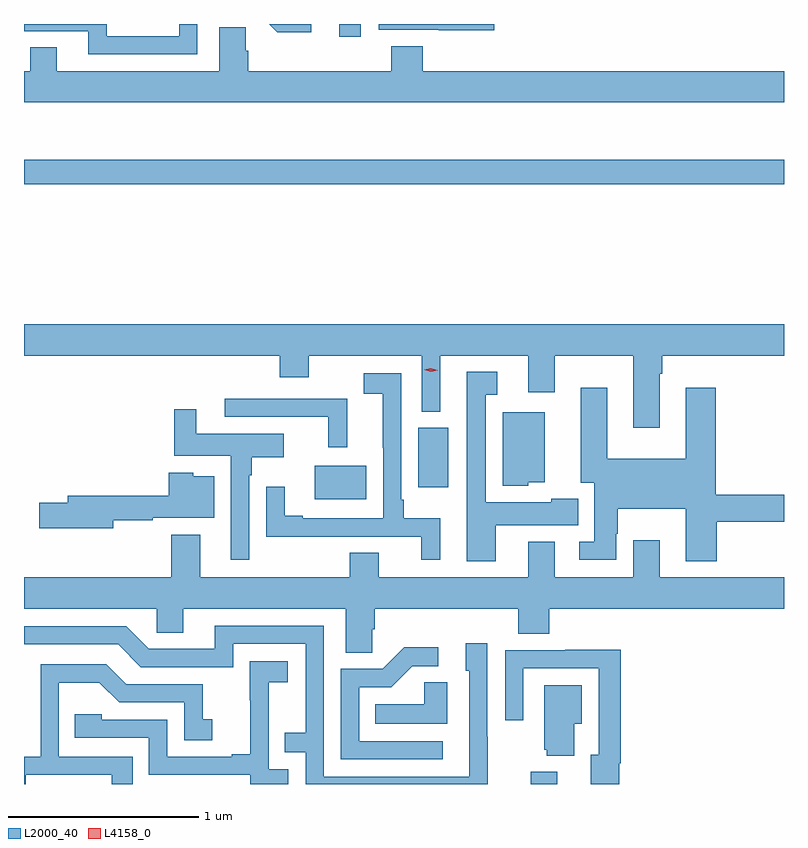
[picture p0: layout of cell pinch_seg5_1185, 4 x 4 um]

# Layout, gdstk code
import gdstk
lib = gdstk.Library(unit=1e-6, precision=1e-09)
def R(c, l, rs):  # rectangles x0, y0, x1, y1
    for r in rs: c.add(gdstk.rectangle(r[:2], r[2:], *l))
def P(c, l, *ps):  # polygons
    for p in ps: c.add(gdstk.Polygon(p, *l))
L2000_40 = (2000, 40)
L4158_0 = (4158, 0)

pinch_seg5_1185 = lib.new_cell('pinch_seg5_1185')
R(pinch_seg5_1185, L2000_40, [(570.629,879.813,570.769,879.877), (569.492,881.312,569.764,881.488), (570.038,881.376,570.196,881.688), (567.963,882.97,571.963,883.099), (569.621,883.746,569.736,883.813)])
P(pinch_seg5_1185, L2000_40, [(569.476,883.813),(569.253,883.813),(569.297,883.769),(569.476,883.769)],
  [(570.437,883.813),(569.829,883.813),(569.829,883.782),(570.145,883.782),(570.145,883.781),(570.437,883.781)],
  [(568.875,883.813),(568.779,883.813),(568.779,883.749),(568.398,883.749),(568.398,883.813),(567.963,883.813),(567.963,883.776),(568.301,883.776),(568.301,883.653),(568.875,883.653)],
  [(571.963,883.564),(570.062,883.564),(570.062,883.697),(569.897,883.697),(569.897,883.564),(569.144,883.564),(569.144,883.673),(569.13,883.673),(569.13,883.796),(568.991,883.796),(568.991,883.564),(568.135,883.564),(568.135,883.691),(567.996,883.691),(567.996,883.564),(567.963,883.564),(567.963,883.4),(571.963,883.4)],
  [(571.309,881.972),(571.322,881.972),(571.322,882.068),(571.963,882.068),(571.963,882.232),(567.963,882.232),(567.963,882.068),(569.309,882.068),(569.309,881.954),(569.461,881.954),(569.461,882.068),(570.057,882.068),(570.057,881.773),(570.154,881.773),(570.154,882.068),(570.617,882.068),(570.617,881.874),(570.757,881.874),(570.757,882.068),(571.169,882.068),(571.169,881.688),(571.309,881.688)],
  [(570.445,881.174),(570.88,881.174),(570.88,881.314),(570.738,881.314),(570.738,881.296),(570.394,881.296),(570.394,881.863),(570.454,881.863),(570.454,881.983),(570.293,881.983),(570.293,880.986),(570.445,880.986)],
  [(570.154,881.212),(569.962,881.212),(569.962,881.308),(569.949,881.308),(569.949,881.976),(569.751,881.976),(569.751,881.868),(569.852,881.868),(569.852,881.584),(569.853,881.584),(569.853,881.211),(569.431,881.211),(569.431,881.224),(569.335,881.224),(569.335,881.377),(569.238,881.377),(569.238,881.114),(569.594,881.114),(569.594,881.115),(569.856,881.115),(569.856,881.114),(570.055,881.114),(570.055,880.992),(570.154,880.992)],
  [(571.61,881.194),(571.963,881.194),(571.963,881.336),(571.605,881.336),(571.605,881.899),(571.445,881.899),(571.445,881.524),(571.033,881.524),(571.033,881.899),(570.893,881.899),(570.893,881.399),(570.965,881.399),(570.965,881.088),(570.885,881.088),(570.885,880.992),(571.081,880.992),(571.081,881.13),(571.089,881.13),(571.089,881.261),(571.445,881.261),(571.445,880.986),(571.61,880.986)],
  [(569.663,881.841),(569.019,881.841),(569.019,881.745),(569.563,881.745),(569.563,881.586),(569.663,881.586)],
  [(569.148,881.438),(569.161,881.438),(569.161,881.534),(569.329,881.534),(569.329,881.656),(568.87,881.656),(568.87,881.785),(568.753,881.785),(568.753,881.54),(569.052,881.54),(569.052,880.992),(569.148,880.992)],
  [(570.618,881.402),(570.703,881.402),(570.703,881.77),(570.482,881.77),(570.482,881.384),(570.618,881.384)],
  [(568.432,881.202),(568.64,881.202),(568.64,881.214),(568.963,881.214),(568.963,881.434),(568.854,881.434),(568.854,881.452),(568.724,881.452),(568.724,881.33),(568.193,881.33),(568.193,881.294),(568.044,881.294),(568.044,881.159),(568.432,881.159)],
  [(569.796,880.627),(569.81,880.627),(569.81,880.736),(570.563,880.736),(570.563,880.603),(570.728,880.603),(570.728,880.736),(571.963,880.736),(571.963,880.9),(571.309,880.9),(571.309,881.095),(571.169,881.095),(571.169,880.9),(570.757,880.9),(570.757,881.089),(570.617,881.089),(570.617,880.9),(569.83,880.9),(569.83,881.03),(569.678,881.03),(569.678,880.9),(568.891,880.9),(568.891,881.125),(568.739,881.125),(568.739,880.9),(567.963,880.9),(567.963,880.736),(568.662,880.736),(568.662,880.609),(568.801,880.609),(568.801,880.736),(569.657,880.736),(569.657,880.504),(569.796,880.504)],
  [(570.405,880.061),(570.402,880.061),(570.402,880.555),(570.287,880.555),(570.287,880.41),(570.306,880.41),(570.306,879.852),(569.541,879.852),(569.541,880.647),(568.967,880.647),(568.967,880.524),(568.62,880.524),(568.5,880.644),(567.963,880.644),(567.963,880.548),(568.458,880.548),(568.578,880.428),(569.064,880.428),(569.064,880.551),(569.445,880.551),(569.445,880.082),(569.335,880.082),(569.335,879.981),(569.445,879.981),(569.445,879.813),(570.405,879.813)],
  [(570.166,880.038),(569.727,880.038),(569.727,880.323),(569.896,880.323),(570.007,880.434),(570.142,880.434),(570.142,880.532),(569.963,880.532),(569.85,880.419),(569.631,880.419),(569.631,879.942),(570.166,879.942)],
  [(571.096,879.922),(571.103,879.922),(571.103,880.52),(570.811,880.52),(570.811,880.518),(570.495,880.518),(570.495,880.149),(570.591,880.149),(570.591,880.422),(570.987,880.422),(570.987,879.966),(570.947,879.966),(570.947,879.813),(571.096,879.813)],
  [(569.355,879.891),(569.25,879.891),(569.25,880.121),(569.252,880.121),(569.252,880.349),(569.35,880.349),(569.35,880.459),(569.152,880.459),(569.152,880.253),(569.153,880.253),(569.153,879.97),(569.057,879.97),(569.057,879.957),(568.716,879.957),(568.716,880.152),(568.371,880.152),(568.371,880.179),(568.231,880.179),(568.231,880.056),(568.62,880.056),(568.62,879.861),(569.154,879.861),(569.154,879.813),(569.355,879.813)],
  [(567.973,879.861),(568.424,879.861),(568.424,879.813),(568.535,879.813),(568.535,879.957),(568.146,879.957),(568.146,880.346),(568.36,880.346),(568.464,880.242),(568.806,880.242),(568.806,880.044),(568.954,880.044),(568.954,880.153),(568.905,880.153),(568.905,880.338),(568.501,880.338),(568.396,880.443),(568.05,880.443),(568.05,879.957),(567.963,879.957),(567.963,879.813),(567.973,879.813)],
  [(570.19,880.349),(570.069,880.349),(570.069,880.234),(569.812,880.234),(569.812,880.13),(570.19,880.13)],
  [(570.859,880.13),(570.898,880.13),(570.898,880.333),(570.701,880.333),(570.701,879.993),(570.713,879.993),(570.713,879.962),(570.859,879.962)])
P(pinch_seg5_1185, L4158_0, [(570.105,881.982),(570.069,881.992),(570.069,881.992),(570.069,881.993),(570.105,882.002),(570.141,881.991),(570.141,881.991),(570.141,881.991)])

lib.write_gds('pinch_seg5_1185.gds')
